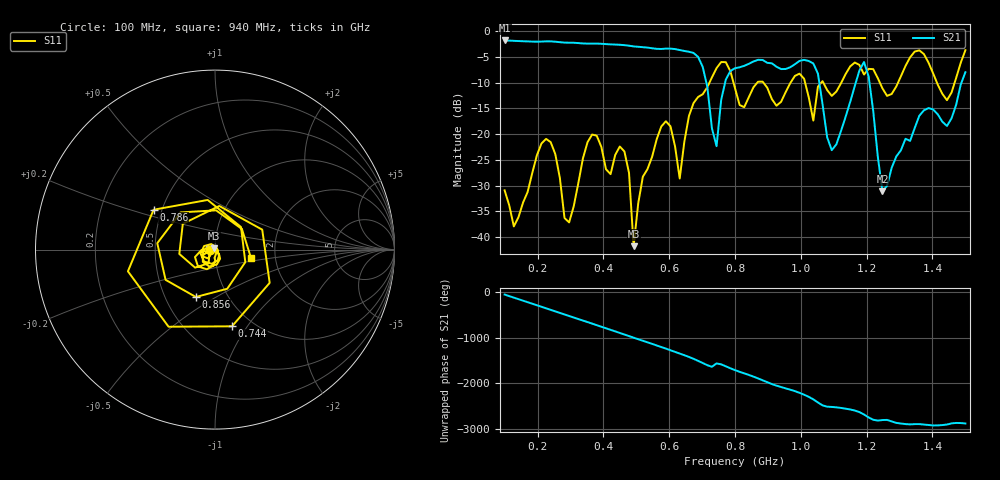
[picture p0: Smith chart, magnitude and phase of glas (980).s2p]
! NanoVNA-App
! Date: 2025-09-25 16:03:06
! Start: 100MHz Stop: 1,5GHz Points: 101
! S-Parameter data: F S11 S21 S12 S22
# Hz S RI R 50
!  Frequency  S11_Real  S11_Imag  S21_Real  S21_Imag  S12_Real  S12_Imag  S22_Real  S22_Imag
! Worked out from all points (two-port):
!   101 points, 100 MHz to 1.5 GHz, reference 50 ohm
!   highest |S21| = -1.80 dB at 100 MHz (marker M1); lowest = -31.1 dB at 1.248 GHz (marker M2)
!   |S21| within 3 dB of the highest: start of sweep to 684.5 MHz
!   lowest |S11| = -41.8 dB at 492 MHz (marker M3), VSWR 1.02, Z = 49.5 + j0.636 ohm
!   |S11| at or under -10 dB: start of sweep to 722.4 MHz; 795.4 MHz to 867.7 MHz (72.27 MHz wide, 8.69 % of centre); 886.4 MHz to 968.7 MHz (82.38 MHz wide, 8.88 % of centre) (the widest 3 of 7)
!   S12 and S22 are empty: the file has one direction only
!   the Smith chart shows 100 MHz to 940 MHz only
!   S11 on the Smith chart (normalised r, x): 100 MHz: 0.94, -0.01; 744 MHz: 0.81, -0.85; 786 MHz: 0.45, +0.24; 856 MHz: 0.71, -0.41; 940 MHz: 1.49, -0.15
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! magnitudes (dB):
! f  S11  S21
! 100 MHz  -30.9  -1.8
! 128 MHz  -37.9  -1.9
! 226 MHz  -20.9  -2.0
! 296 MHz  -37.2  -2.2
! 338 MHz  -24.7  -2.4
! 464 MHz  -23.4  -2.7
! 492 MHz  -41.8  -3.0
! 576 MHz  -18.5  -3.5
! 632 MHz  -28.6  -3.7
! 702 MHz  -12.2  -7.0
! 744 MHz  -7.2  -22.3
! 786 MHz  -7.8  -7.7
! 800 MHz  -11.1  -7.2
! 856 MHz  -10.9  -5.9
! 940 MHz  -13.7  -7.4
! 1.038 GHz  -17.4  -6.3
! 1.094 GHz  -12.6  -23.1
! 1.192 GHz  -8.4  -6.0
! 1.248 GHz  -11.1  -31.1
! 1.276 GHz  -12.2  -26.5
! 1.444 GHz  -13.4  -18.4
! 1.5 GHz  -3.7  -8.0
